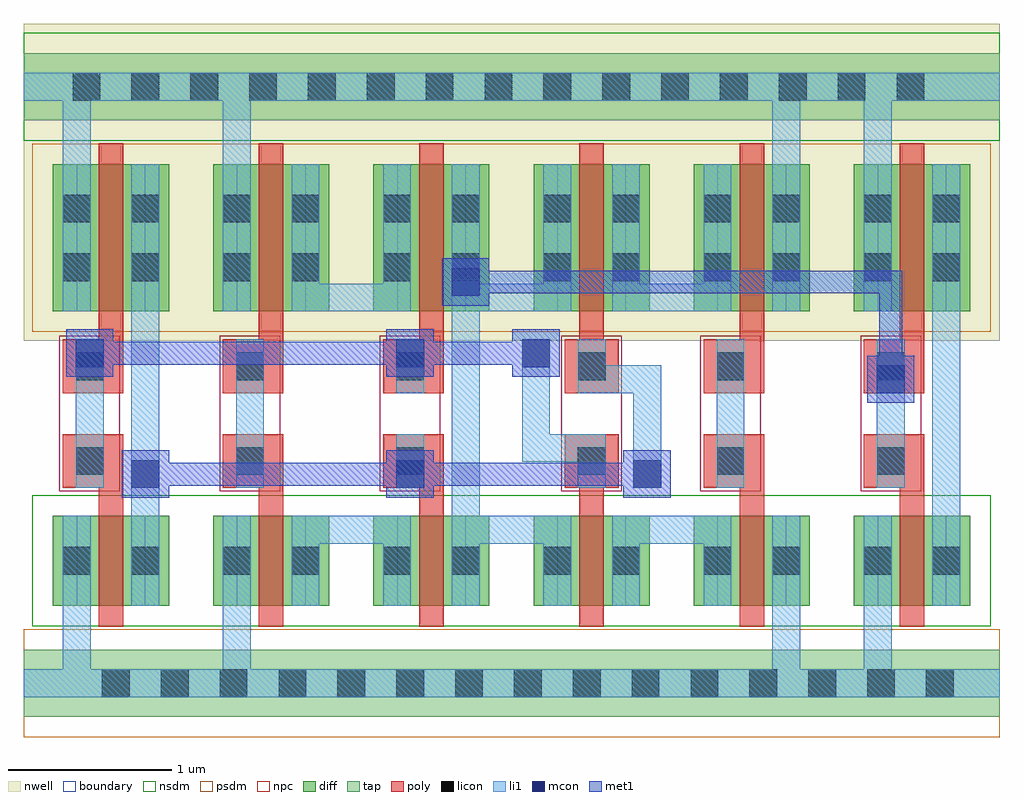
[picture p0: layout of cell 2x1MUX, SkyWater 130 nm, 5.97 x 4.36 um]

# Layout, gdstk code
from math import pi, radians
import gdstk
lib = gdstk.Library(unit=1e-6, precision=1e-09)
def R(c, l, rs):  # rectangles x0, y0, x1, y1
    for r in rs: c.add(gdstk.rectangle(r[:2], r[2:], *l))
def A(c, l, x, y, w, h, nx, ny, dx, dy):  # array of equal rectangles
    R(c, l, [(x+i*dx, y+j*dy, x+i*dx+w, y+j*dy+h) for i in range(nx) for j in range(ny)])
def P(c, l, *ps):  # polygons
    for p in ps: c.add(gdstk.Polygon(p, *l))
nwell = (64, 20)
diff = (65, 20)
tap = (65, 44)
poly = (66, 20)
licon = (66, 44)
li1 = (67, 20)
mcon = (67, 44)
met1 = (68, 20)
nsdm = (93, 44)
psdm = (94, 20)
npc = (95, 20)
boundary = (235, 4)

contact_6 = lib.new_cell('Contact$6')
R(contact_6, li1, [(-0.085,-0.085,0.085,0.085)])
R(contact_6, mcon, [(-0.085,-0.085,0.085,0.085)])
R(contact_6, met1, [(-0.145,-0.145,0.145,0.145)])

contact_1 = lib.new_cell('Contact$1')
R(contact_1, poly, [(-0.165,-0.165,0.165,0.165)])
R(contact_1, licon, [(-0.085,-0.085,0.085,0.085)])
R(contact_1, li1, [(-0.085,-0.165,0.085,0.165)])
R(contact_1, npc, [(-0.185,-0.185,0.185,0.185)])

contact_2 = lib.new_cell('Contact$2')
R(contact_2, tap, [(-0.205,-2.725,0.205,2.725)])
A(contact_2, licon, -0.085, -2.605, 0.17, 0.17, 1, 15, 0, 0.36)
R(contact_2, li1, [(-0.085,-2.685,0.085,2.685)])
R(contact_2, psdm, [(-0.33,-2.85,0.33,2.85)])

contact = lib.new_cell('Contact')
R(contact, nwell, [(-0.385,-2.905,0.385,2.905)])
R(contact, tap, [(-0.205,-2.725,0.205,2.725)])
A(contact, licon, -0.085, -2.605, 0.17, 0.17, 1, 15, 0, 0.36)
R(contact, li1, [(-0.085,-2.685,0.085,2.685)])
R(contact, nsdm, [(-0.33,-2.85,0.33,2.85)])

mosfet_2 = lib.new_cell('MOSFET$2')
R(mosfet_2, diff, [(-0.145,0,0.565,0.55)])
R(mosfet_2, poly, [(0.135,-0.13,0.285,0.68)])
R(mosfet_2, licon, [(-0.085,0.19,0.085,0.36), (0.335,0.19,0.505,0.36)])
R(mosfet_2, li1, [(-0.085,0,0.085,0.55), (0.335,0,0.505,0.55)])
R(mosfet_2, nsdm, [(-0.27,-0.125,0.69,0.675)])
R(mosfet_2, boundary, [(0,0,0.42,0.55)])

mosfet = lib.new_cell('MOSFET')
R(mosfet, nwell, [(-0.325,-0.18,0.745,1.08)])
R(mosfet, diff, [(-0.145,0,0.565,0.9)])
R(mosfet, poly, [(0.135,-0.13,0.285,1.03)])
R(mosfet, licon, [(-0.085,0.185,0.085,0.355), (0.335,0.185,0.505,0.355), (-0.085,0.545,0.085,0.715), (0.335,0.545,0.505,0.715)])
R(mosfet, li1, [(-0.085,0,0.085,0.9), (0.335,0,0.505,0.9)])
R(mosfet, psdm, [(-0.27,-0.125,0.69,1.025)])
R(mosfet, boundary, [(0,0,0.42,0.9)])

c_2x1mux = lib.new_cell('2x1MUX')
R(c_2x1mux, nwell, [(0,2.425,5.97,4.365), (0,2.425,5.97,4.365)])
R(c_2x1mux, tap, [(0,0.125,5.97,0.535), (0,3.775,5.97,4.185)])
A(c_2x1mux, poly, 0.46, 1.485, 0.15, 0.37, 6, 2, 0.98, 0.62)
R(c_2x1mux, nsdm, [(0.055,0.68,5.915,1.48), (0,3.65,5.97,4.31)])
R(c_2x1mux, psdm, [(0,0,5.97,0.66), (0.055,2.48,5.915,3.63)])
A(c_2x1mux, npc, 0.22, 1.505, 0.37, 0.95, 3, 1, 0.98, 0)
R(c_2x1mux, npc, [(4.14,1.505,4.51,2.455), (5.12,1.505,5.49,2.455)])
P(c_2x1mux, npc, [(3.29,1.505),(3.29,2.455),(3.66,2.455),(3.66,1.655),(3.66,1.505)])
c_2x1mux.add(gdstk.FlexPath([(3.18,1.27),(2.79,1.27)], 0.17, ends="flush", simple_path=True, layer=67, datatype=20))  # li1
c_2x1mux.add(gdstk.FlexPath([(3.18,2.69),(2.79,2.69)], 0.17, ends="flush", simple_path=True, layer=67, datatype=20))  # li1
c_2x1mux.add(gdstk.FlexPath([(3.815,1.695),(3.815,2.19),(3.395,2.19),(3.39,2.19)], 0.17, ends="flush", simple_path=True, layer=67, datatype=20))  # li1
c_2x1mux.add(gdstk.FlexPath([(1.64,1.27),(2.37,1.27)], 0.17, ends="flush", simple_path=True, layer=67, datatype=20))  # li1
c_2x1mux.add(gdstk.FlexPath([(3.135,2.27),(3.135,1.77),(3.425,1.77)], 0.17, ends="flush", simple_path=True, layer=67, datatype=20))  # li1
c_2x1mux.add(gdstk.FlexPath([(0.745,2.605),(0.745,1.355)], 0.17, ends="flush", simple_path=True, layer=67, datatype=20))  # li1
c_2x1mux.add(gdstk.FlexPath([(2.705,2.605),(2.705,1.355)], 0.17, ends="flush", simple_path=True, layer=67, datatype=20))  # li1
c_2x1mux.add(gdstk.FlexPath([(5.645,2.605),(5.645,1.355)], 0.17, ends="flush", simple_path=True, layer=67, datatype=20))  # li1
c_2x1mux.add(gdstk.FlexPath([(3.77,1.27),(4.16,1.27)], 0.17, ends="flush", simple_path=True, layer=67, datatype=20))  # li1
c_2x1mux.add(gdstk.FlexPath([(1.81,2.69),(2.2,2.69)], 0.17, ends="flush", simple_path=True, layer=67, datatype=20))  # li1
c_2x1mux.add(gdstk.FlexPath([(3.77,2.69),(4.16,2.69)], 0.17, ends="flush", simple_path=True, layer=67, datatype=20))  # li1
c_2x1mux.add(gdstk.FlexPath([(0.405,2.105),(0.405,1.855)], 0.17, ends="flush", simple_path=True, layer=67, datatype=20))  # li1
c_2x1mux.add(gdstk.FlexPath([(1.385,2.105),(1.385,1.855)], 0.17, ends="flush", simple_path=True, layer=67, datatype=20))  # li1
c_2x1mux.add(gdstk.FlexPath([(4.325,2.105),(4.325,1.855)], 0.17, ends="flush", simple_path=True, layer=67, datatype=20))  # li1
c_2x1mux.add(gdstk.FlexPath([(5.305,2.105),(5.305,1.855)], 0.17, ends="flush", simple_path=True, layer=67, datatype=20))  # li1
c_2x1mux.add(gdstk.FlexPath([(0.325,0.805),(0.325,0.415)], 0.17, ends="flush", simple_path=True, layer=67, datatype=20))  # li1
c_2x1mux.add(gdstk.FlexPath([(1.305,0.805),(1.305,0.415)], 0.17, ends="flush", simple_path=True, layer=67, datatype=20))  # li1
c_2x1mux.add(gdstk.FlexPath([(4.665,0.805),(4.665,0.415)], 0.17, ends="flush", simple_path=True, layer=67, datatype=20))  # li1
c_2x1mux.add(gdstk.FlexPath([(5.225,0.805),(5.225,0.415)], 0.17, ends="flush", simple_path=True, layer=67, datatype=20))  # li1
c_2x1mux.add(gdstk.FlexPath([(0.325,3.505),(0.325,3.895)], 0.17, ends="flush", simple_path=True, layer=67, datatype=20))  # li1
c_2x1mux.add(gdstk.FlexPath([(1.305,3.505),(1.305,3.895)], 0.17, ends="flush", simple_path=True, layer=67, datatype=20))  # li1
c_2x1mux.add(gdstk.FlexPath([(4.665,3.505),(4.665,3.895)], 0.17, ends="flush", simple_path=True, layer=67, datatype=20))  # li1
c_2x1mux.add(gdstk.FlexPath([(5.225,3.505),(5.225,3.895)], 0.17, ends="flush", simple_path=True, layer=67, datatype=20))  # li1
c_2x1mux.add(gdstk.FlexPath([(0,0.33),(5.97,0.33)], 0.17, ends="flush", simple_path=True, layer=67, datatype=20))  # li1
c_2x1mux.add(gdstk.FlexPath([(0,3.98),(5.97,3.98)], 0.17, ends="flush", simple_path=True, layer=67, datatype=20))  # li1
c_2x1mux.add(gdstk.FlexPath([(2.85,2.785),(5.305,2.785),(5.305,2.335)], 0.14, ends="flush", simple_path=True, layer=68, datatype=20))  # met1
c_2x1mux.add(gdstk.FlexPath([(0.89,1.61),(3.67,1.61)], 0.14, ends="flush", simple_path=True, layer=68, datatype=20))  # met1
c_2x1mux.add(gdstk.FlexPath([(0.55,2.35),(2.99,2.35)], 0.14, ends="flush", simple_path=True, layer=68, datatype=20))  # met1
c_2x1mux.add(gdstk.Reference(contact_6, (0.745,1.61)))
c_2x1mux.add(gdstk.Reference(contact_6, (2.365,1.61)))
c_2x1mux.add(gdstk.Reference(contact_6, (3.815,1.61)))
c_2x1mux.add(gdstk.Reference(contact_6, (5.305,2.19)))
c_2x1mux.add(gdstk.Reference(contact_6, (0.405,2.35)))
c_2x1mux.add(gdstk.Reference(contact_6, (2.365,2.35)))
c_2x1mux.add(gdstk.Reference(contact_6, (3.135,2.35)))
c_2x1mux.add(gdstk.Reference(contact_6, (2.705,2.785)))
c_2x1mux.add(gdstk.Reference(contact_1, (0.405,1.69), x_reflection=True))
c_2x1mux.add(gdstk.Reference(contact_1, (1.385,1.69), x_reflection=True))
c_2x1mux.add(gdstk.Reference(contact_1, (2.365,1.69), x_reflection=True))
c_2x1mux.add(gdstk.Reference(contact_1, (3.475,1.69), x_reflection=True))
c_2x1mux.add(gdstk.Reference(contact_1, (4.325,1.69), x_reflection=True))
c_2x1mux.add(gdstk.Reference(contact_1, (5.305,1.69), x_reflection=True))
c_2x1mux.add(gdstk.Reference(contact_2, (3.085,0.33), rotation=pi/2))
c_2x1mux.add(gdstk.Reference(contact, (2.905,3.98), rotation=pi/2))
c_2x1mux.add(gdstk.Reference(mosfet_2, (0.325,0.805)))
c_2x1mux.add(gdstk.Reference(mosfet_2, (1.305,0.805)))
c_2x1mux.add(gdstk.Reference(mosfet_2, (2.285,0.805)))
c_2x1mux.add(gdstk.Reference(mosfet_2, (3.265,0.805)))
c_2x1mux.add(gdstk.Reference(mosfet_2, (4.245,0.805)))
c_2x1mux.add(gdstk.Reference(mosfet_2, (5.225,0.805)))
c_2x1mux.add(gdstk.Reference(contact_1, (0.405,2.27)))
c_2x1mux.add(gdstk.Reference(contact_1, (1.385,2.27)))
c_2x1mux.add(gdstk.Reference(contact_1, (2.365,2.27)))
c_2x1mux.add(gdstk.Reference(contact_1, (3.475,2.27)))
c_2x1mux.add(gdstk.Reference(contact_1, (4.325,2.27)))
c_2x1mux.add(gdstk.Reference(contact_1, (5.305,2.27)))
c_2x1mux.add(gdstk.Reference(mosfet, (0.325,2.605)))
c_2x1mux.add(gdstk.Reference(mosfet, (1.305,2.605)))
c_2x1mux.add(gdstk.Reference(mosfet, (2.285,2.605)))
c_2x1mux.add(gdstk.Reference(mosfet, (3.265,2.605)))
c_2x1mux.add(gdstk.Reference(mosfet, (4.245,2.605)))
c_2x1mux.add(gdstk.Reference(mosfet, (5.225,2.605)))

lib.write_gds('2x1MUX.gds')
